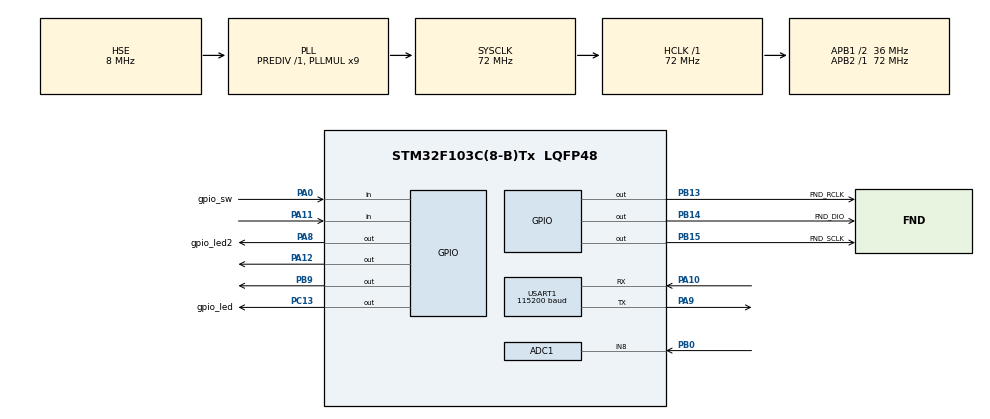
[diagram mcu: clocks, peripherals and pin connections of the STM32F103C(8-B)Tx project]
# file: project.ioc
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ADC1.Channel-2\#ChannelRegularConversion=ADC_CHANNEL_8
ADC1.ContinuousConvMode=ENABLE
ADC1.NbrOfConversionFlag=1
ADC1.Rank-2\#ChannelRegularConversion=1
ADC1.SamplingTime-2\#ChannelRegularConversion=ADC_SAMPLETIME_1CYCLE_5
ADC1.master=1
Mcu.Family=STM32F1
Mcu.Name=STM32F103C(8-B)Tx
Mcu.Package=LQFP48
NVIC.PriorityGroup=NVIC_PRIORITYGROUP_4
NVIC.TIM2_IRQn=true\:0\:0\:false\:false\:true\:true\:true\:true
NVIC.USART1_IRQn=true\:0\:0\:false\:false\:true\:true\:true\:true
PA0-WKUP.GPIO_Label=gpio_sw
PA0-WKUP.GPIO_PuPd=GPIO_PULLUP
PA0-WKUP.Signal=GPIO_Input
PA10.Mode=Asynchronous
PA10.Signal=USART1_RX
PA11.Signal=GPIO_Input
PA12.Signal=GPIO_Output
PA13.Mode=Serial_Wire
PA13.Signal=SYS_JTMS-SWDIO
PA14.Mode=Serial_Wire
PA14.Signal=SYS_JTCK-SWCLK
PA8.GPIO_Label=gpio_led2
PA8.GPIO_ModeDefaultOutputPP=GPIO_MODE_OUTPUT_PP
PA8.GPIO_PuPd=GPIO_PULLDOWN
PA8.GPIO_Speed=GPIO_SPEED_FREQ_HIGH
PA8.PinState=GPIO_PIN_SET
PA8.Signal=GPIO_Output
PA9.Mode=Asynchronous
PA9.Signal=USART1_TX
PB0.Signal=ADCx_IN8
PB13.GPIO_Label=FND_RCLK
PB13.GPIO_PuPd=GPIO_PULLUP
PB13.GPIO_Speed=GPIO_SPEED_FREQ_HIGH
PB13.PinState=GPIO_PIN_SET
PB13.Signal=GPIO_Output
PB14.GPIO_Label=FND_DIO
PB14.GPIO_ModeDefaultOutputPP=GPIO_MODE_OUTPUT_PP
PB14.GPIO_PuPd=GPIO_PULLUP
PB14.GPIO_Speed=GPIO_SPEED_FREQ_HIGH
PB14.PinState=GPIO_PIN_SET
PB14.Signal=GPIO_Output
PB15.GPIO_Label=FND_SCLK
PB15.GPIO_PuPd=GPIO_PULLUP
PB15.GPIO_Speed=GPIO_SPEED_FREQ_HIGH
PB15.PinState=GPIO_PIN_SET
PB15.Signal=GPIO_Output
PB9.Signal=GPIO_Output
PC13-TAMPER-RTC.GPIO_Label=gpio_led
PC13-TAMPER-RTC.GPIO_PuPd=GPIO_PULLDOWN
PC13-TAMPER-RTC.GPIO_Speed=GPIO_SPEED_FREQ_HIGH
PC13-TAMPER-RTC.PinState=GPIO_PIN_SET
PC13-TAMPER-RTC.Signal=GPIO_Output
PD0-OSC_IN.Mode=HSE-External-Oscillator
PD0-OSC_IN.Signal=RCC_OSC_IN
PD1-OSC_OUT.Mode=HSE-External-Oscillator
PD1-OSC_OUT.Signal=RCC_OSC_OUT
ProjectManager.HeapSize=0x200
ProjectManager.StackSize=0x400
ProjectManager.TargetToolchain=STM32CubeIDE
RCC.ADCPresc=RCC_ADCPCLK2_DIV6
RCC.AHBFreq_Value=72000000
RCC.APB1CLKDivider=RCC_HCLK_DIV2
RCC.APB1Freq_Value=36000000
RCC.APB1TimFreq_Value=72000000
RCC.APB2Freq_Value=72000000
RCC.APB2TimFreq_Value=72000000
RCC.HCLKFreq_Value=72000000
RCC.PLLMUL=RCC_PLL_MUL9
RCC.PLLSourceVirtual=RCC_PLLSOURCE_HSE
RCC.SYSCLKFreq_VALUE=72000000
RCC.SYSCLKSource=RCC_SYSCLKSOURCE_PLLCLK
RCC.USBFreq_Value=72000000
SH.ADCx_IN8.0=ADC1_IN8,IN8
TIM1.Prescaler=71
TIM1.TIM_MasterOutputTrigger=TIM_TRGO_RESET
TIM2.Period=9999
TIM2.Prescaler=7199
TIM3.Prescaler=71
USART1.BaudRate=115200
USART1.VirtualMode=VM_ASYNC
VP_TIM1_VS_ClockSourceINT.Mode=Internal
VP_TIM2_VS_ClockSourceINT.Mode=Internal
VP_TIM3_VS_ClockSourceINT.Mode=Internal
board=custom

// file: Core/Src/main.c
/* USER CODE BEGIN Header */
/**
  ******************************************************************************
  * @file           : main.c
  * @brief          : Main program body
  ******************************************************************************
  * @attention
  *
  * Copyright (c) 2024 STMicroelectronics.
  * All rights reserved.
  *
  * This software is licensed under terms that can be found in the LICENSE file
  * in the root directory of this software component.
  * If no LICENSE file comes with this software, it is provided AS-IS.
  *
  ******************************************************************************
  */
/* USER CODE END Header */
#include "main.h"

/* USER CODE BEGIN Includes */
#include "fnd_controller.h"
#include <stdio.h>
#include <string.h>
#include <stdlib.h>
/* USER CODE END Includes */

ADC_HandleTypeDef hadc1;

TIM_HandleTypeDef htim1;
TIM_HandleTypeDef htim2;
TIM_HandleTypeDef htim3;

UART_HandleTypeDef huart1;

void SystemClock_Config(void);
static void MX_GPIO_Init(void);
static void MX_USART1_UART_Init(void);
static void MX_ADC1_Init(void);
static void MX_TIM1_Init(void);
static void MX_TIM2_Init(void);
static void MX_TIM3_Init(void);

/* USER CODE BEGIN 0 */
#define TRIG_PIN GPIO_PIN_12
#define TRIG_PORT GPIOA
#define ECHO_PIN GPIO_PIN_11
#define ECHO_PORT GPIOA
#define DHT11_PIN GPIO_PIN_9
#define DHT11_PORT GPIOB
uint32_t portval;
char isOpen;
int count=0;
int check=0;
uint32_t Value1 = 0;
uint32_t Value2 = 0;
float Distance  = 0;  // cm
uint8_t RHI, RHD, TCI, TCD, SUM;
uint32_t pMillis, cMillis;
void microDelay (uint16_t delay)
{
  __HAL_TIM_SET_COUNTER(&htim1, 0);
  while (__HAL_TIM_GET_COUNTER(&htim1) < delay);
}

uint8_t DHT11_Start (void)
{
  uint8_t Response = 0;
  GPIO_InitTypeDef GPIO_InitStructPrivate = {0};
  GPIO_InitStructPrivate.Pin = DHT11_PIN;
  GPIO_InitStructPrivate.Mode = GPIO_MODE_OUTPUT_PP;
  GPIO_InitStructPrivate.Speed = GPIO_SPEED_FREQ_LOW;
  GPIO_InitStructPrivate.Pull = GPIO_NOPULL;
  HAL_GPIO_Init(DHT11_PORT, &GPIO_InitStructPrivate); // set the pin as output
  HAL_GPIO_WritePin (DHT11_PORT, DHT11_PIN, 0);   // pull the pin low
  HAL_Delay(20);   // wait for 20ms
  HAL_GPIO_WritePin (DHT11_PORT, DHT11_PIN, 1);   // pull the pin high
  microDelay (30);   // wait for 30us
  GPIO_InitStructPrivate.Mode = GPIO_MODE_INPUT;
  GPIO_InitStructPrivate.Pull = GPIO_PULLUP;
  HAL_GPIO_Init(DHT11_PORT, &GPIO_InitStructPrivate); // set the pin as input
  microDelay (40);
  if (!(HAL_GPIO_ReadPin (DHT11_PORT, DHT11_PIN)))
  {
    microDelay (80);
    if ((HAL_GPIO_ReadPin (DHT11_PORT, DHT11_PIN))) Response = 1;
  }
  pMillis = HAL_GetTick();
  cMillis = HAL_GetTick();
  while ((HAL_GPIO_ReadPin (DHT11_PORT, DHT11_PIN)) && pMillis + 2 > cMillis)
  {
    cMillis = HAL_GetTick();
  }
  return Response;
}

uint8_t DHT11_Read (void)
{
  uint8_t a,b;
  for (a=0;a<8;a++)
  {
    pMillis = HAL_GetTick();
    cMillis = HAL_GetTick();
    while (!(HAL_GPIO_ReadPin (DHT11_PORT, DHT11_PIN)) && pMillis + 2 > cMillis)
    {  // wait for the pin to go high
      cMillis = HAL_GetTick();
    }
    microDelay (40);   // wait for 40 us
    if (!(HAL_GPIO_ReadPin (DHT11_PORT, DHT11_PIN)))   // if the pin is low
      b&= ~(1<<(7-a));
    else
      b|= (1<<(7-a));
    pMillis = HAL_GetTick();
    cMillis = HAL_GetTick();
    while ((HAL_GPIO_ReadPin (DHT11_PORT, DHT11_PIN)) && pMillis + 2 > cMillis)
    {  // wait for the pin to go low
      cMillis = HAL_GetTick();
    }
  }
  return b;
}
void connectWifi() {
	HAL_UART_Transmit(&huart1, (uint8_t *)"AT\r\n", strlen("AT\r\n"), HAL_MAX_DELAY);
	HAL_Delay(1000);
	HAL_UART_Transmit(&huart1, (uint8_t *)"AT+RST\r\n", strlen("AT+RST\r\n"), HAL_MAX_DELAY);
	HAL_Delay(1000);
	HAL_UART_Transmit(&huart1, (uint8_t *)"AT+CWMODE=1\r\n", strlen("AT+CWMODE=1\r\n"), HAL_MAX_DELAY);
	HAL_Delay(1000);

	char wifiCommand[50];
	sprintf(wifiCommand, "AT+CWJAP=\"%s\",\"%s\"\r\n", "s20", "32813315");
	HAL_UART_Transmit(&huart1, (uint8_t *)wifiCommand, strlen(wifiCommand), HAL_MAX_DELAY);
	HAL_Delay(2000);

}
void sendHTTPRequest() {
    char tcpCommand[50];
    sprintf(tcpCommand, "AT+CIPSTART=\"TCP\",\"%s\",3002\r\n", "3.38.231.37");
    HAL_UART_Transmit(&huart1, (uint8_t *)tcpCommand, strlen(tcpCommand), HAL_MAX_DELAY);
    HAL_Delay(1000);

    char httpCommand[40];
    char postData[400];
    char data[200];
    sprintf(data, "{\"location\":\"Home\",\"isOpen\":\"%c\",\"brightness\":%d,\"checkDate\":\"none\",\"temp\":%d.%d,\"humidity\":%d.%d}",isOpen,portval,TCI,TCD,RHI,RHD);
    sprintf(postData, "POST /posts HTTP/1.1\r\nHost: 3.38.231.37:3002\r\nContent-Type: application/json\r\nContent-Length: %d\r\n\r\n%s",strlen(data),data);
    sprintf(httpCommand, "AT+CIPSEND=%d\r\n", strlen(postData));
    HAL_UART_Transmit(&huart1, (uint8_t *)httpCommand, strlen(httpCommand), HAL_MAX_DELAY);
    HAL_Delay(1000);
    HAL_UART_Transmit(&huart1, (uint8_t *)postData, strlen(postData), HAL_MAX_DELAY);
    HAL_Delay(1000);
}
void checkDistance(){
	HAL_GPIO_WritePin(TRIG_PORT, TRIG_PIN, GPIO_PIN_SET);  // pull the TRIG pin HIGH
	/*
	__HAL_TIM_SET_COUNTER(&htim3, 0);
    while (__HAL_TIM_GET_COUNTER (&htim3) < 10);  // wait for 10 us
    */
	microDelay(10);
	HAL_GPIO_WritePin(TRIG_PORT, TRIG_PIN, GPIO_PIN_RESET);  // pull the TRIG pin low
	//trig핀에 10us동안 high 신호를 줌
	pMillis = HAL_GetTick(); // used this to avoid infinite while loop  (for timeout)
	        // wait for the echo pin to go high
	while (!(HAL_GPIO_ReadPin (ECHO_PORT, ECHO_PIN)) && pMillis + 10 >  HAL_GetTick()); //에코핀이 high로 변할떄까지 기다림
	Value1 = __HAL_TIM_GET_COUNTER (&htim3);  //에코핀이 high가 되는순간의 타이머값을 저장

	pMillis = HAL_GetTick(); // used this to avoid infinite while loop (for timeout)
	        // wait for the echo pin to go low
	while ((HAL_GPIO_ReadPin (ECHO_PORT, ECHO_PIN)) && pMillis + 50 > HAL_GetTick());
	Value2 = __HAL_TIM_GET_COUNTER (&htim3);//에코핀이 low가 되는 순간의 타이머 값을 저장

	Distance = (Value2-Value1)* 0.034/2; //왕복시간/2*0.034(cm/us)= 거리
	if(Distance<6){
	    isOpen='0';
	}
	else{
	    isOpen='1';
	}
}
/* USER CODE END 0 */

int main(void)
{
  /* USER CODE BEGIN 1 */
	uint8_t _LED_0F[29];

	_LED_0F[0] = 0xC0; //0
	_LED_0F[1] = 0xF9; //1
	_LED_0F[2] = 0xA4; //2
	_LED_0F[3] = 0xB0; //3
	_LED_0F[4] = 0x99; //4
	_LED_0F[5] = 0x92; //5
	_LED_0F[6] = 0x82; //6
	_LED_0F[7] = 0xF8; //7
	_LED_0F[8] = 0x80; //8
	_LED_0F[9] = 0x90; //9
	_LED_0F[10] = 0x40; //0.
	_LED_0F[11] = 0x79; //1.
	_LED_0F[12] = 0x24; //2.
	_LED_0F[13] = 0x30; //3.
	_LED_0F[14] = 0x19; //4.
	_LED_0F[15] = 0x12; //5.
	_LED_0F[16] = 0x02; //6.
	_LED_0F[17] = 0x78; //7.
	_LED_0F[18] = 0x00; //8.
	_LED_0F[19] = 0x10; //9.
	_LED_0F[20] = 0xC3; //L
	_LED_0F[21] = 0xA9; //n
	_LED_0F[22] = 0xC0; //O
	_LED_0F[23] = 0x8C; //P
	_LED_0F[24] = 0x98; //q
	_LED_0F[25] = 0x92; //S
	_LED_0F[26] = 0xC1; //U
	_LED_0F[27] = 0x91; //Y
	_LED_0F[28] = 0xFE; //hight -

  /* USER CODE END 1 */

  /* MCU Configuration--------------------------------------------------------*/

  /* Reset of all peripherals, Initializes the Flash interface and the Systick. */
  HAL_Init();

  /* Configure the system clock */
  SystemClock_Config();

  /* Initialize all configured peripherals */
  MX_GPIO_Init();
  MX_USART1_UART_Init();
  MX_ADC1_Init();
  MX_TIM1_Init();
  MX_TIM2_Init();
  MX_TIM3_Init();
  /* USER CODE BEGIN 2 */
  int val[3]={0,0,0};
  HAL_TIM_Base_Start_IT(&htim2);
  HAL_TIM_Base_Start(&htim1);
  HAL_TIM_Base_Start(&htim3);
  HAL_GPIO_WritePin(TRIG_PORT, TRIG_PIN, GPIO_PIN_RESET);  // pull the TRIG pin low
  connectWifi();
  if(DHT11_Start())   //every 10second start temp and humidity check
   	      {
   	        RHI = DHT11_Read(); // Relative humidity integral
   	        RHD = DHT11_Read(); // Relative humidity decimal
   	        TCI = DHT11_Read(); // Celsius integral
   	        TCD = DHT11_Read(); // Celsius decimal
   	        SUM = DHT11_Read(); // Check sum
   	        val[2]=TCI/10;
   	        val[1]=TCI%10+10; //seconde num *10= dot num
   	        val[0]=TCD%10;
   	      }

  /* USER CODE END 2 */

  /* Infinite loop */
  /* USER CODE BEGIN WHILE */
  while (1)
  {
	  if(check==1){   //every 30second start temp and humidity check

		    send_port(_LED_0F[28], 0b1111);
		    DHT11_Start();
	        RHI = DHT11_Read(); // Relative humidity integral
	        RHD = DHT11_Read(); // Relative humidity decimal
	        TCI = DHT11_Read(); // Celsius integral
	        TCD = DHT11_Read(); // Celsius decimal
	        SUM = DHT11_Read(); // Check sum
	        val[2]=TCI/10;
	        val[1]=TCI%10+10; //seconde num *10= dot num
	        val[0]=TCD%10;
	        checkDistance();
	        HAL_ADC_Start(&hadc1);
	        HAL_ADC_PollForConversion(&hadc1,100);
	        portval=HAL_ADC_GetValue(&hadc1);
	        sendHTTPRequest();
	  }
    for(int i=0;i<5000;i++){
		send_port(_LED_0F[val[2]], 0b0100);
		send_port(_LED_0F[val[1]], 0b0010);
		send_port(_LED_0F[val[0]], 0b0001);
    }

    /* USER CODE END WHILE */

  }
}

void SystemClock_Config(void)
{
  RCC_OscInitTypeDef RCC_OscInitStruct = {0};
  RCC_ClkInitTypeDef RCC_ClkInitStruct = {0};
  RCC_PeriphCLKInitTypeDef PeriphClkInit = {0};

  /** Initializes the RCC Oscillators according to the specified parameters
  * in the RCC_OscInitTypeDef structure.
  */
  RCC_OscInitStruct.OscillatorType = RCC_OSCILLATORTYPE_HSE;
  RCC_OscInitStruct.HSEState = RCC_HSE_ON;
  RCC_OscInitStruct.HSEPredivValue = RCC_HSE_PREDIV_DIV1;
  RCC_OscInitStruct.HSIState = RCC_HSI_ON;
  RCC_OscInitStruct.PLL.PLLState = RCC_PLL_ON;
  RCC_OscInitStruct.PLL.PLLSource = RCC_PLLSOURCE_HSE;
  RCC_OscInitStruct.PLL.PLLMUL = RCC_PLL_MUL9;
  if (HAL_RCC_OscConfig(&RCC_OscInitStruct) != HAL_OK)
  {
    Error_Handler();
  }

  /** Initializes the CPU, AHB and APB buses clocks
  */
  RCC_ClkInitStruct.ClockType = RCC_CLOCKTYPE_HCLK|RCC_CLOCKTYPE_SYSCLK
                              |RCC_CLOCKTYPE_PCLK1|RCC_CLOCKTYPE_PCLK2;
  RCC_ClkInitStruct.SYSCLKSource = RCC_SYSCLKSOURCE_PLLCLK;
  RCC_ClkInitStruct.AHBCLKDivider = RCC_SYSCLK_DIV1;
  RCC_ClkInitStruct.APB1CLKDivider = RCC_HCLK_DIV2;
  RCC_ClkInitStruct.APB2CLKDivider = RCC_HCLK_DIV1;

  if (HAL_RCC_ClockConfig(&RCC_ClkInitStruct, FLASH_LATENCY_2) != HAL_OK)
  {
    Error_Handler();
  }
  PeriphClkInit.PeriphClockSelection = RCC_PERIPHCLK_ADC;
  PeriphClkInit.AdcClockSelection = RCC_ADCPCLK2_DIV6;
  if (HAL_RCCEx_PeriphCLKConfig(&PeriphClkInit) != HAL_OK)
  {
    Error_Handler();
  }
}

static void MX_ADC1_Init(void)
{

  ADC_ChannelConfTypeDef sConfig = {0};

  /** Common config
  */
  hadc1.Instance = ADC1;
  hadc1.Init.ScanConvMode = ADC_SCAN_DISABLE;
  hadc1.Init.ContinuousConvMode = ENABLE;
  hadc1.Init.DiscontinuousConvMode = DISABLE;
  hadc1.Init.ExternalTrigConv = ADC_SOFTWARE_START;
  hadc1.Init.DataAlign = ADC_DATAALIGN_RIGHT;
  hadc1.Init.NbrOfConversion = 1;
  if (HAL_ADC_Init(&hadc1) != HAL_OK)
  {
    Error_Handler();
  }

  /** Configure Regular Channel
  */
  sConfig.Channel = ADC_CHANNEL_8;
  sConfig.Rank = ADC_REGULAR_RANK_1;
  sConfig.SamplingTime = ADC_SAMPLETIME_1CYCLE_5;
  if (HAL_ADC_ConfigChannel(&hadc1, &sConfig) != HAL_OK)
  {
    Error_Handler();
  }

}

static void MX_TIM1_Init(void)
{

  TIM_ClockConfigTypeDef sClockSourceConfig = {0};
  TIM_MasterConfigTypeDef sMasterConfig = {0};

  htim1.Instance = TIM1;
  htim1.Init.Prescaler = 71;
  htim1.Init.CounterMode = TIM_COUNTERMODE_UP;
  htim1.Init.Period = 65535;
  htim1.Init.ClockDivision = TIM_CLOCKDIVISION_DIV1;
  htim1.Init.RepetitionCounter = 0;
  htim1.Init.AutoReloadPreload = TIM_AUTORELOAD_PRELOAD_DISABLE;
  if (HAL_TIM_Base_Init(&htim1) != HAL_OK)
  {
    Error_Handler();
  }
  sClockSourceConfig.ClockSource = TIM_CLOCKSOURCE_INTERNAL;
  if (HAL_TIM_ConfigClockSource(&htim1, &sClockSourceConfig) != HAL_OK)
  {
    Error_Handler();
  }
  sMasterConfig.MasterOutputTrigger = TIM_TRGO_RESET;
  sMasterConfig.MasterSlaveMode = TIM_MASTERSLAVEMODE_DISABLE;
  if (HAL_TIMEx_MasterConfigSynchronization(&htim1, &sMasterConfig) != HAL_OK)
  {
    Error_Handler();
  }

}

static void MX_TIM2_Init(void)
{

  TIM_ClockConfigTypeDef sClockSourceConfig = {0};
  TIM_MasterConfigTypeDef sMasterConfig = {0};

  htim2.Instance = TIM2;
  htim2.Init.Prescaler = 7199;
  htim2.Init.CounterMode = TIM_COUNTERMODE_UP;
  htim2.Init.Period = 9999;
  htim2.Init.ClockDivision = TIM_CLOCKDIVISION_DIV1;
  htim2.Init.AutoReloadPreload = TIM_AUTORELOAD_PRELOAD_DISABLE;
  if (HAL_TIM_Base_Init(&htim2) != HAL_OK)
  {
    Error_Handler();
  }
  sClockSourceConfig.ClockSource = TIM_CLOCKSOURCE_INTERNAL;
  if (HAL_TIM_ConfigClockSource(&htim2, &sClockSourceConfig) != HAL_OK)
  {
    Error_Handler();
  }
  sMasterConfig.MasterOutputTrigger = TIM_TRGO_RESET;
  sMasterConfig.MasterSlaveMode = TIM_MASTERSLAVEMODE_DISABLE;
  if (HAL_TIMEx_MasterConfigSynchronization(&htim2, &sMasterConfig) != HAL_OK)
  {
    Error_Handler();
  }

}

static void MX_TIM3_Init(void)
{

  TIM_ClockConfigTypeDef sClockSourceConfig = {0};
  TIM_MasterConfigTypeDef sMasterConfig = {0};

  htim3.Instance = TIM3;
  htim3.Init.Prescaler = 71;
  htim3.Init.CounterMode = TIM_COUNTERMODE_UP;
  htim3.Init.Period = 65535;
  htim3.Init.ClockDivision = TIM_CLOCKDIVISION_DIV1;
  htim3.Init.AutoReloadPreload = TIM_AUTORELOAD_PRELOAD_DISABLE;
  if (HAL_TIM_Base_Init(&htim3) != HAL_OK)
  {
    Error_Handler();
  }
  sClockSourceConfig.ClockSource = TIM_CLOCKSOURCE_INTERNAL;
  if (HAL_TIM_ConfigClockSource(&htim3, &sClockSourceConfig) != HAL_OK)
  {
    Error_Handler();
  }
  sMasterConfig.MasterOutputTrigger = TIM_TRGO_RESET;
  sMasterConfig.MasterSlaveMode = TIM_MASTERSLAVEMODE_DISABLE;
  if (HAL_TIMEx_MasterConfigSynchronization(&htim3, &sMasterConfig) != HAL_OK)
  {
    Error_Handler();
  }

}

static void MX_USART1_UART_Init(void)
{

  huart1.Instance = USART1;
  huart1.Init.BaudRate = 115200;
  huart1.Init.WordLength = UART_WORDLENGTH_8B;
  huart1.Init.StopBits = UART_STOPBITS_1;
  huart1.Init.Parity = UART_PARITY_NONE;
  huart1.Init.Mode = UART_MODE_TX_RX;
  huart1.Init.HwFlowCtl = UART_HWCONTROL_NONE;
  huart1.Init.OverSampling = UART_OVERSAMPLING_16;
  if (HAL_UART_Init(&huart1) != HAL_OK)
  {
    Error_Handler();
  }

}

static void MX_GPIO_Init(void)
{
  GPIO_InitTypeDef GPIO_InitStruct = {0};

  /* GPIO Ports Clock Enable */
  __HAL_RCC_GPIOC_CLK_ENABLE();
  __HAL_RCC_GPIOD_CLK_ENABLE();
  __HAL_RCC_GPIOA_CLK_ENABLE();
  __HAL_RCC_GPIOB_CLK_ENABLE();

  /*Configure GPIO pin Output Level */
  HAL_GPIO_WritePin(gpio_led_GPIO_Port, gpio_led_Pin, GPIO_PIN_SET);

  /*Configure GPIO pin Output Level */
  HAL_GPIO_WritePin(GPIOB, FND_RCLK_Pin|FND_DIO_Pin|FND_SCLK_Pin, GPIO_PIN_SET);

  /*Configure GPIO pin Output Level */
  HAL_GPIO_WritePin(gpio_led2_GPIO_Port, gpio_led2_Pin, GPIO_PIN_SET);

  /*Configure GPIO pin Output Level */
  HAL_GPIO_WritePin(GPIOA, GPIO_PIN_12, GPIO_PIN_RESET);

  /*Configure GPIO pin Output Level */
  HAL_GPIO_WritePin(GPIOB, GPIO_PIN_9, GPIO_PIN_RESET);

  /*Configure GPIO pin : gpio_led_Pin */
  GPIO_InitStruct.Pin = gpio_led_Pin;
  GPIO_InitStruct.Mode = GPIO_MODE_OUTPUT_PP;
  GPIO_InitStruct.Pull = GPIO_PULLDOWN;
  GPIO_InitStruct.Speed = GPIO_SPEED_FREQ_HIGH;
  HAL_GPIO_Init(gpio_led_GPIO_Port, &GPIO_InitStruct);

  /*Configure GPIO pin : gpio_sw_Pin */
  GPIO_InitStruct.Pin = gpio_sw_Pin;
  GPIO_InitStruct.Mode = GPIO_MODE_INPUT;
  GPIO_InitStruct.Pull = GPIO_PULLUP;
  HAL_GPIO_Init(gpio_sw_GPIO_Port, &GPIO_InitStruct);

  /*Configure GPIO pins : FND_RCLK_Pin FND_DIO_Pin FND_SCLK_Pin */
  GPIO_InitStruct.Pin = FND_RCLK_Pin|FND_DIO_Pin|FND_SCLK_Pin;
  GPIO_InitStruct.Mode = GPIO_MODE_OUTPUT_PP;
  GPIO_InitStruct.Pull = GPIO_PULLUP;
  GPIO_InitStruct.Speed = GPIO_SPEED_FREQ_HIGH;
  HAL_GPIO_Init(GPIOB, &GPIO_InitStruct);

  /*Configure GPIO pin : gpio_led2_Pin */
  GPIO_InitStruct.Pin = gpio_led2_Pin;
  GPIO_InitStruct.Mode = GPIO_MODE_OUTPUT_PP;
  GPIO_InitStruct.Pull = GPIO_PULLDOWN;
  GPIO_InitStruct.Speed = GPIO_SPEED_FREQ_HIGH;
  HAL_GPIO_Init(gpio_led2_GPIO_Port, &GPIO_InitStruct);

  /*Configure GPIO pin : PA11 */
  GPIO_InitStruct.Pin = GPIO_PIN_11;
  GPIO_InitStruct.Mode = GPIO_MODE_INPUT;
  GPIO_InitStruct.Pull = GPIO_NOPULL;
  HAL_GPIO_Init(GPIOA, &GPIO_InitStruct);

  /*Configure GPIO pin : PA12 */
  GPIO_InitStruct.Pin = GPIO_PIN_12;
  GPIO_InitStruct.Mode = GPIO_MODE_OUTPUT_PP;
  GPIO_InitStruct.Pull = GPIO_NOPULL;
  GPIO_InitStruct.Speed = GPIO_SPEED_FREQ_LOW;
  HAL_GPIO_Init(GPIOA, &GPIO_InitStruct);

  /*Configure GPIO pin : PB9 */
  GPIO_InitStruct.Pin = GPIO_PIN_9;
  GPIO_InitStruct.Mode = GPIO_MODE_OUTPUT_PP;
  GPIO_InitStruct.Pull = GPIO_NOPULL;
  GPIO_InitStruct.Speed = GPIO_SPEED_FREQ_LOW;
  HAL_GPIO_Init(GPIOB, &GPIO_InitStruct);

}

/* USER CODE BEGIN 4 */
void HAL_TIM_PeriodElapsedCallback(TIM_HandleTypeDef *htim){
	if(htim->Instance==TIM2) //every 1 second
	{
		if(count==30){ //30second
			HAL_GPIO_WritePin(GPIOC,GPIO_PIN_13,0);
			count=0;
			check=1;
		}else{
			HAL_GPIO_WritePin(GPIOC,GPIO_PIN_13,1);
			count++;
			check=0;
		}

	}
}
/* USER CODE END 4 */

void Error_Handler(void)
{
  __disable_irq();
  while (1)
  {
  }
}
